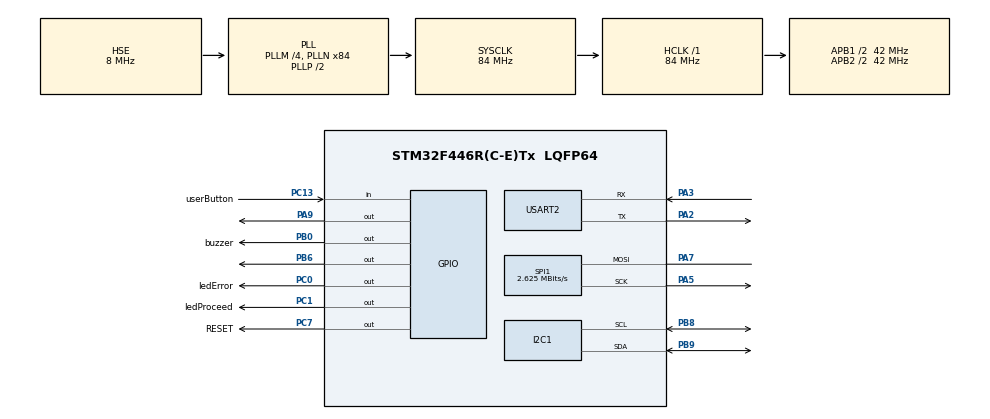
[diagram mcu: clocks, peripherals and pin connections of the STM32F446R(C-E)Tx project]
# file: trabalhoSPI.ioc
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Mcu.Family=STM32F4
Mcu.Name=STM32F446R(C-E)Tx
Mcu.Package=LQFP64
NVIC.PriorityGroup=NVIC_PRIORITYGROUP_4
NVIC.TIM1_TRG_COM_TIM11_IRQn=true\:0\:0\:false\:false\:true\:true\:true\:true
NVIC.TIM1_UP_TIM10_IRQn=true\:0\:0\:false\:false\:true\:true\:true\:true
NVIC.TIM6_DAC_IRQn=true\:0\:0\:false\:false\:true\:true\:true\:true
NVIC.TIM7_IRQn=true\:0\:0\:false\:false\:true\:true\:true\:true
NVIC.TIM8_UP_TIM13_IRQn=true\:0\:0\:false\:false\:true\:true\:true\:true
NVIC.USART2_IRQn=true\:0\:0\:false\:false\:true\:true\:true\:true
PA13.Mode=Serial_Wire
PA13.Signal=SYS_JTMS-SWDIO
PA14.Mode=Serial_Wire
PA14.Signal=SYS_JTCK-SWCLK
PA2.Mode=Asynchronous
PA2.Signal=USART2_TX
PA3.Mode=Asynchronous
PA3.Signal=USART2_RX
PA5.Mode=Simplex_Bidirectional_Master
PA5.Signal=SPI1_SCK
PA7.Mode=Simplex_Bidirectional_Master
PA7.Signal=SPI1_MOSI
PA9.Signal=GPIO_Output
PB0.GPIO_Label=buzzer
PB0.Signal=GPIO_Output
PB6.Signal=GPIO_Output
PB8.Mode=I2C
PB8.Signal=I2C1_SCL
PB9.Mode=I2C
PB9.Signal=I2C1_SDA
PC0.GPIO_Label=ledError
PC0.Signal=GPIO_Output
PC1.GPIO_Label=ledProceed
PC1.Signal=GPIO_Output
PC13.GPIO_Label=userButton
PC13.GPIO_PuPd=GPIO_PULLUP
PC13.Signal=GPIO_Input
PC14-OSC32_IN.Mode=LSE-External-Oscillator
PC14-OSC32_IN.Signal=RCC_OSC32_IN
PC15-OSC32_OUT.Mode=LSE-External-Oscillator
PC15-OSC32_OUT.Signal=RCC_OSC32_OUT
PC7.GPIO_Label=RESET
PC7.Signal=GPIO_Output
PH0-OSC_IN.Mode=HSE-External-Oscillator
PH0-OSC_IN.Signal=RCC_OSC_IN
PH1-OSC_OUT.Mode=HSE-External-Oscillator
PH1-OSC_OUT.Signal=RCC_OSC_OUT
ProjectManager.HeapSize=0x200
ProjectManager.StackSize=0x400
ProjectManager.TargetToolchain=STM32CubeIDE
RCC.AHBFreq_Value=84000000
RCC.APB1CLKDivider=RCC_HCLK_DIV2
RCC.APB1Freq_Value=42000000
RCC.APB1TimFreq_Value=84000000
RCC.APB2CLKDivider=RCC_HCLK_DIV2
RCC.APB2Freq_Value=42000000
RCC.APB2TimFreq_Value=84000000
RCC.CortexFreq_Value=84000000
RCC.HCLKFreq_Value=84000000
RCC.HSE_VALUE=8000000
RCC.PLLM=4
RCC.PLLN=84
RCC.PLLSourceVirtual=RCC_PLLSOURCE_HSE
RCC.SYSCLKFreq_VALUE=84000000
RCC.SYSCLKSource=RCC_SYSCLKSOURCE_PLLCLK
RCC.USBFreq_Value=84000000
RCC.VCOOutputFreq_Value=168000000
SPI1.BaudRatePrescaler=SPI_BAUDRATEPRESCALER_16
SPI1.CalculateBaudRate=2.625 MBits/s
SPI1.Direction=SPI_DIRECTION_1LINE
SPI1.Mode=SPI_MODE_MASTER
SPI1.VirtualType=VM_MASTER
TIM10.Period=999
TIM10.Prescaler=135
TIM11.Period=999
TIM11.Prescaler=113
TIM13.Period=9999
TIM13.Prescaler=4199
TIM6.Period=999
TIM6.Prescaler=150
TIM7.Period=999
TIM7.Prescaler=140
USART2.VirtualMode=VM_ASYNC
VP_TIM10_VS_ClockSourceINT.Mode=Enable_Timer
VP_TIM11_VS_ClockSourceINT.Mode=Enable_Timer
VP_TIM13_VS_ClockSourceINT.Mode=Enable_Timer
VP_TIM6_VS_ClockSourceINT.Mode=Enable_Timer
VP_TIM7_VS_ClockSourceINT.Mode=Enable_Timer
board=custom

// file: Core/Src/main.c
/* USER CODE BEGIN Header */
/**
 ******************************************************************************
 * @file           : main.c
 * @brief          : Main program body
 ******************************************************************************
 * @attention
 *
 * <h2><center>&copy; Copyright (c) 2020 STMicroelectronics.
 * All rights reserved.</center></h2>
 *
 * This software component is licensed by ST under BSD 3-Clause license,
 * the "License"; You may not use this file except in compliance with the
 * License. You may obtain a copy of the License at:
 *                        opensource.org/licenses/BSD-3-Clause
 *
 ******************************************************************************
 */
/* USER CODE END Header */
#include "main.h"
#include "i2c.h"
#include "spi.h"
#include "tim.h"
#include "usart.h"
#include "gpio.h"

/* USER CODE BEGIN Includes */
#include "ST7735.h"
#include "GFX_FUNCTIONS.h"
#include "MPU9250.h"
#include "genius.h"

#include <stdio.h>
#include <stdlib.h>
#include <time.h>
/* USER CODE END Includes */

/* USER CODE BEGIN PV */
int16_t x;
int16_t y;

char dataMonitor;

int checkVictory;
int resetGame = 0;

int diff = 0;
/* USER CODE END PV */

void SystemClock_Config(void);

int main(void)
{

	/* MCU Configuration--------------------------------------------------------*/

	/* Reset of all peripherals, Initializes the Flash interface and the Systick. */
	HAL_Init();

	/* Configure the system clock */
	SystemClock_Config();

	/* Initialize all configured peripherals */
	MX_GPIO_Init();
	MX_SPI1_Init();
	MX_USART2_UART_Init();
	MX_TIM10_Init();
	MX_I2C1_Init();
	MX_TIM11_Init();
	MX_TIM6_Init();
	MX_TIM7_Init();
	MX_TIM13_Init();
	/* USER CODE BEGIN 2 */

	//Initializing peripheral
	MPU9250_Init();
	ST7735_Init(0);
	geniusInit();
	geniusDifficulty(diff);
	HAL_UART_Receive_IT(&huart2, &dataMonitor, 1);
	//To test the display, uncomment the line below:
	//testAll();

	/* USER CODE END 2 */

	/* Infinite loop */
	while (1)
	{

		/* USER CODE BEGIN 3 */
		checkVictory = 1;
		resetGame = HAL_GPIO_ReadPin(userButton_GPIO_Port, userButton_Pin);
		if (resetGame == GPIO_PIN_RESET)
		{
			checkVictory = 0;
			geniusInit();
			geniusDifficulty(diff);
			HAL_Delay(200);
		}

		if (checkVictory == 0)
		{
			x = MPU9250_Gyro_ReadX();
			y = MPU9250_Gyro_ReadY();
			checkVictory = geniusGame();
			HAL_Delay(100);
		}
	}
	/* USER CODE END 3 */
}

void SystemClock_Config(void)
{
	RCC_OscInitTypeDef RCC_OscInitStruct = {0};
	RCC_ClkInitTypeDef RCC_ClkInitStruct = {0};

	/** Configure the main internal regulator output voltage
	 */
	__HAL_RCC_PWR_CLK_ENABLE();
	__HAL_PWR_VOLTAGESCALING_CONFIG(PWR_REGULATOR_VOLTAGE_SCALE3);

	/** Initializes the RCC Oscillators according to the specified parameters
	 * in the RCC_OscInitTypeDef structure.
	 */
	RCC_OscInitStruct.OscillatorType = RCC_OSCILLATORTYPE_HSE;
	RCC_OscInitStruct.HSEState = RCC_HSE_ON;
	RCC_OscInitStruct.PLL.PLLState = RCC_PLL_ON;
	RCC_OscInitStruct.PLL.PLLSource = RCC_PLLSOURCE_HSE;
	RCC_OscInitStruct.PLL.PLLM = 4;
	RCC_OscInitStruct.PLL.PLLN = 84;
	RCC_OscInitStruct.PLL.PLLP = RCC_PLLP_DIV2;
	RCC_OscInitStruct.PLL.PLLQ = 2;
	RCC_OscInitStruct.PLL.PLLR = 2;
	if (HAL_RCC_OscConfig(&RCC_OscInitStruct) != HAL_OK)
	{
		Error_Handler();
	}

	/** Initializes the CPU, AHB and APB buses clocks
	 */
	RCC_ClkInitStruct.ClockType = RCC_CLOCKTYPE_HCLK|RCC_CLOCKTYPE_SYSCLK
			|RCC_CLOCKTYPE_PCLK1|RCC_CLOCKTYPE_PCLK2;
	RCC_ClkInitStruct.SYSCLKSource = RCC_SYSCLKSOURCE_PLLCLK;
	RCC_ClkInitStruct.AHBCLKDivider = RCC_SYSCLK_DIV1;
	RCC_ClkInitStruct.APB1CLKDivider = RCC_HCLK_DIV2;
	RCC_ClkInitStruct.APB2CLKDivider = RCC_HCLK_DIV2;

	if (HAL_RCC_ClockConfig(&RCC_ClkInitStruct, FLASH_LATENCY_2) != HAL_OK)
	{
		Error_Handler();
	}
}

/* USER CODE BEGIN 4 */
void HAL_UART_RxCpltCallback(UART_HandleTypeDef *huart) {
	if (huart->Instance == USART2) {
		char debug[50];

		switch (dataMonitor) {
		case '0':
			sprintf(debug, "Difficulty set to easy\n", dataMonitor);
			diff = 0;
			break;
		case '1':
			sprintf(debug, "Difficulty set to medium\n", dataMonitor);
			diff = 1;
			break;
		case '2':
			sprintf(debug, "Difficulty set to hard\n", dataMonitor);
			diff = 2;
			break;
		case '3':
			sprintf(debug, "Difficulty set to impossible. Good luck :)\n", dataMonitor);
			diff = 3;
			break;
		default:
			break;
		}
		HAL_UART_Transmit_IT(&huart2, debug, strlen(debug));
		geniusDifficulty(diff);
		HAL_UART_Receive_IT(&huart2, &dataMonitor, 1);
	}
}

void HAL_TIM_PeriodElapsedCallback(TIM_HandleTypeDef *htim)
{
	if(htim->Instance == TIM11)
	{
		HAL_GPIO_TogglePin(buzzer_GPIO_Port, buzzer_Pin);
	}
	else if(htim->Instance == TIM10)
	{
		HAL_GPIO_TogglePin(buzzer_GPIO_Port, buzzer_Pin);
	}
	else if(htim->Instance == TIM7)
	{
		HAL_GPIO_TogglePin(buzzer_GPIO_Port, buzzer_Pin);
	}
	else if(htim->Instance == TIM6)
	{
		HAL_GPIO_TogglePin(buzzer_GPIO_Port, buzzer_Pin);
	}
}

int _write(int file, char *ptr, int len)
{
	int DataIdx;

	for (DataIdx = 0; DataIdx < len; DataIdx++)
	{
		ITM_SendChar(*ptr++);
	}
	return len;
}
/* USER CODE END 4 */

void Error_Handler(void)
{
}
